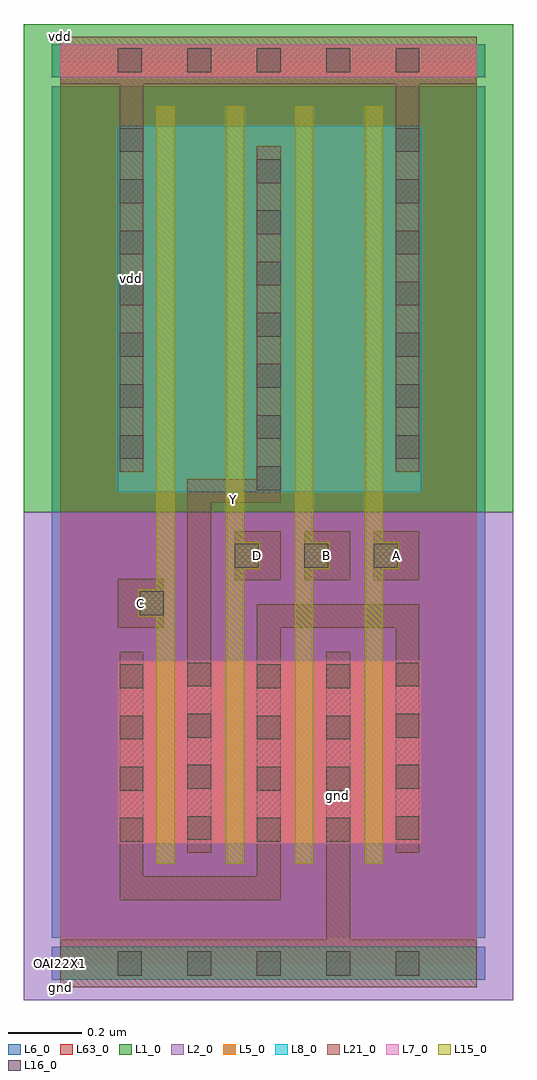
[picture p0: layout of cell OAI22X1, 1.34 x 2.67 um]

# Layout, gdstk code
import gdstk
lib = gdstk.Library(unit=1e-6, precision=1e-09)
def R(c, l, rs):  # rectangles x0, y0, x1, y1
    for r in rs: c.add(gdstk.rectangle(r[:2], r[2:], *l))
def A(c, l, x, y, w, h, nx, ny, dx, dy):  # array of equal rectangles
    R(c, l, [(x+i*dx, y+j*dy, x+i*dx+w, y+j*dy+h) for i in range(nx) for j in range(ny)])
def P(c, l, *ps):  # polygons
    for p in ps: c.add(gdstk.Polygon(p, *l))
L1_0 = (1, 0)
L2_0 = (2, 0)
L5_0 = (5, 0)
L6_0 = (6, 0)
L7_0 = (7, 0)
L8_0 = (8, 0)
L15_0 = (15, 0)
L16_0 = (16, 0)
L21_0 = (21, 0)
L63_0 = (63, 0)

oai22x1 = lib.new_cell('OAI22X1')
R(oai22x1, L1_0, [(-0.1,1.235,1.24,2.57)])
R(oai22x1, L2_0, [(-0.1,-0.1,1.24,1.235)])
A(oai22x1, L5_0, 0.263, 0.328, 0.05, 0.5, 4, 1, 0.19, 0)
A(oai22x1, L5_0, 0.313, 0.328, 0.14, 0.5, 3, 1, 0.19, 0)
A(oai22x1, L5_0, 0.263, 1.29, 0.05, 1, 4, 1, 0.19, 0)
A(oai22x1, L5_0, 0.313, 1.29, 0.14, 1, 3, 1, 0.19, 0)
R(oai22x1, L5_0, [(0,-0.045,1.14,0.045), (0.158,0.328,0.263,0.828), (0.883,0.328,0.988,0.828), (0.158,1.29,0.263,2.29), (0.883,1.29,0.988,2.29), (0,2.425,1.14,2.515)])
R(oai22x1, L6_0, [(-0.023,-0.045,1.163,0.045), (-0.023,-0.045,1.163,0.045), (-0.023,0.07,1.163,1.235), (-0.023,1.235,1.163,2.4), (-0.023,2.425,1.163,2.515), (-0.023,2.425,1.163,2.515)])
A(oai22x1, L7_0, 0.263, 0.328, 0.05, 0.5, 4, 1, 0.19, 0)
A(oai22x1, L7_0, 0.313, 0.328, 0.14, 0.5, 3, 1, 0.19, 0)
R(oai22x1, L7_0, [(0.158,0.328,0.263,0.828), (0.883,0.328,0.988,0.828), (0,2.425,1.14,2.515)])
A(oai22x1, L8_0, 0.263, 1.29, 0.05, 1, 4, 1, 0.19, 0)
A(oai22x1, L8_0, 0.313, 1.29, 0.14, 1, 3, 1, 0.19, 0)
R(oai22x1, L8_0, [(0,-0.045,1.14,0.045), (0.158,1.29,0.263,2.29), (0.883,1.29,0.988,2.29)])
A(oai22x1, L15_0, 0.263, 0.273, 0.05, 0.055, 4, 2, 0.19, 2.017)
A(oai22x1, L15_0, 0.263, 0.328, 0.05, 0.5, 4, 1, 0.19, 0)
A(oai22x1, L15_0, 0.263, 1.29, 0.05, 1, 4, 1, 0.19, 0)
P(oai22x1, L15_0, [(0.263,0.948),(0.213,0.948),(0.213,1.023),(0.263,1.023),(0.263,1.29),(0.313,1.29),(0.313,0.828),(0.263,0.828)],
  [(0.453,1.29),(0.503,1.29),(0.503,1.153),(0.548,1.153),(0.548,1.078),(0.503,1.078),(0.503,0.828),(0.453,0.828)],
  [(0.643,1.29),(0.693,1.29),(0.693,1.153),(0.738,1.153),(0.738,1.078),(0.693,1.078),(0.693,0.828),(0.643,0.828)],
  [(0.833,1.29),(0.883,1.29),(0.883,1.153),(0.928,1.153),(0.928,1.078),(0.883,1.078),(0.883,0.828),(0.833,0.828)])
A(oai22x1, L16_0, 0.158, -0.033, 0.065, 0.066, 5, 1, 0.19, 0)
A(oai22x1, L16_0, 0.163, 0.333, 0.065, 0.065, 1, 4, 0, 0.14)
A(oai22x1, L16_0, 0.538, 0.333, 0.065, 0.065, 1, 4, 0, 0.14)
A(oai22x1, L16_0, 0.728, 0.333, 0.065, 0.065, 1, 4, 0, 0.14)
A(oai22x1, L16_0, 0.348, 0.338, 0.065, 0.065, 1, 4, 0, 0.14)
A(oai22x1, L16_0, 0.918, 0.338, 0.065, 0.065, 1, 4, 0, 0.14)
A(oai22x1, L16_0, 0.478, 1.083, 0.065, 0.065, 3, 1, 0.19, 0)
A(oai22x1, L16_0, 0.538, 1.295, 0.065, 0.065, 1, 7, 0, 0.14)
A(oai22x1, L16_0, 0.163, 1.38, 0.065, 0.065, 1, 7, 0, 0.14)
A(oai22x1, L16_0, 0.918, 1.38, 0.065, 0.065, 1, 7, 0, 0.14)
A(oai22x1, L16_0, 0.158, 2.438, 0.065, 0.065, 5, 1, 0.19, 0)
R(oai22x1, L16_0, [(0.218,0.953,0.283,1.018)])
A(oai22x1, L21_0, 0.478, 1.048, 0.125, 0.135, 3, 1, 0.19, 0)
R(oai22x1, L21_0, [(0.158,0.918,0.283,1.053)])
P(oai22x1, L21_0, [(0,2.405),(0,2.535),(1.14,2.535),(1.14,2.405),(0.983,2.405),(0.983,1.345),(0.918,1.345),(0.918,2.405),(0.228,2.405),(0.228,1.345),(0.163,1.345),(0.163,2.405)],
  [(0,-0.065),(0,0.065),(0.728,0.065),(0.728,0.853),(0.793,0.853),(0.793,0.065),(1.14,0.065),(1.14,-0.065)],
  [(0.348,1.325),(0.538,1.325),(0.538,2.235),(0.603,2.235),(0.603,1.26),(0.413,1.26),(0.413,0.303),(0.348,0.303)],
  [(0.538,0.238),(0.538,0.983),(0.983,0.983),(0.983,0.303),(0.918,0.303),(0.918,0.918),(0.603,0.918),(0.603,0.173),(0.163,0.173),(0.163,0.853),(0.228,0.853),(0.228,0.238)])
R(oai22x1, L63_0, [(0,0,1.14,2.47)])
oai22x1.add(gdstk.Label('vdd', (0.195,1.875), layer=21, texttype=1))
oai22x1.add(gdstk.Label('gnd', (0.76,0.459), layer=21, texttype=1))
oai22x1.add(gdstk.Label('A', (0.92,1.115), layer=21, texttype=1))
oai22x1.add(gdstk.Label('B', (0.73,1.115), layer=21, texttype=1))
oai22x1.add(gdstk.Label('Y', (0.475,1.269), layer=21, texttype=1))
oai22x1.add(gdstk.Label('D', (0.54,1.115), layer=21, texttype=1))
oai22x1.add(gdstk.Label('C', (0.22,0.985), layer=21, texttype=1))
oai22x1.add(gdstk.Label('vdd', (0,2.535), layer=21, texttype=2))
oai22x1.add(gdstk.Label('gnd', (0,-0.065), layer=21, texttype=2))
oai22x1.add(gdstk.Label('OAI22X1', (0,0), layer=63, texttype=1))

lib.write_gds('OAI22X1.gds')
